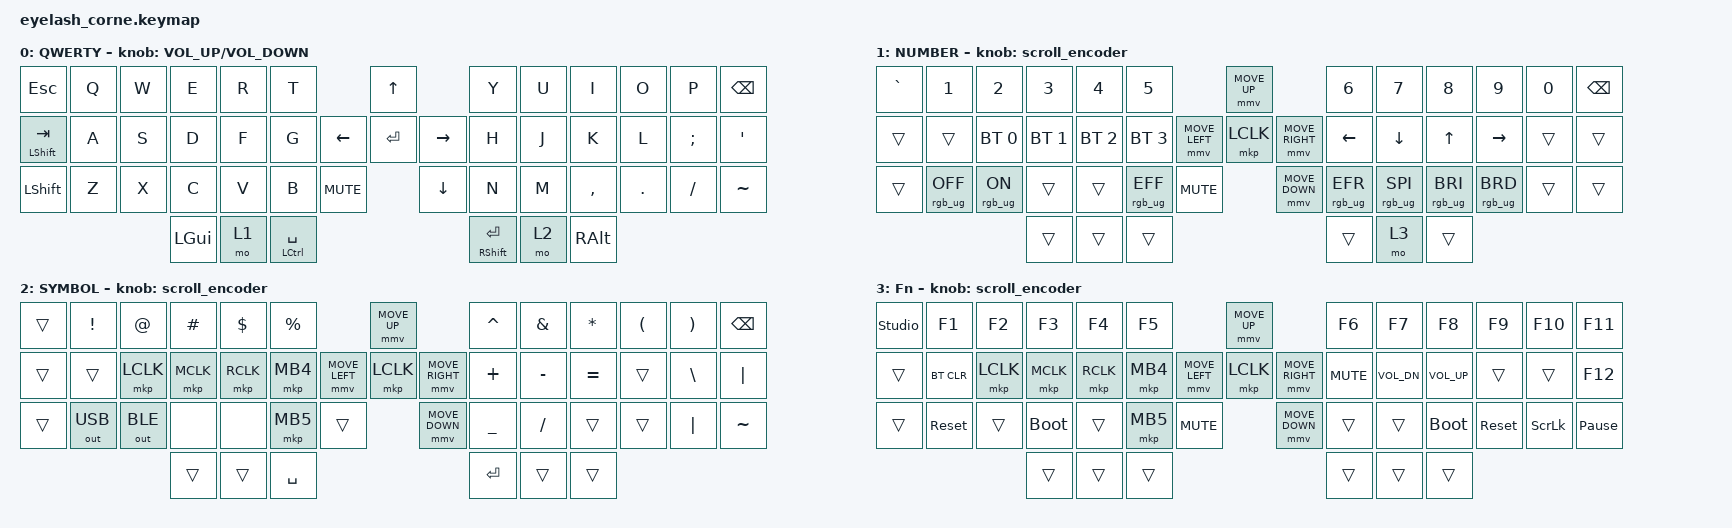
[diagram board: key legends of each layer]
#define ZMK_POINTING_DEFAULT_MOVE_VAL 1200  // 600
#define ZMK_POINTING_DEFAULT_SCRL_VAL 25   // 10

#include <input/processors.dtsi>
#include <zephyr/dt-bindings/input/input-event-codes.h>
#include <behaviors.dtsi>
#include <dt-bindings/zmk/bt.h>
#include <dt-bindings/zmk/keys.h>
#include <dt-bindings/zmk/outputs.h>
#include <dt-bindings/zmk/pointing.h>
#include <dt-bindings/zmk/rgb.h>

&mmv_input_listener { input-processors = <&zip_xy_scaler 2 1>; };

&msc_input_listener { input-processors = <&zip_scroll_scaler 2 1>; };

&msc {
    acceleration-exponent = <1>;      // 0
    time-to-max-speed-ms = <100>;       // 300
    delay-ms = <0>;                   // 0
};

&mmv {
    time-to-max-speed-ms = <500>;
    acceleration-exponent = <1>;
    trigger-period-ms = <16>;
};

/ {
    behaviors {
        td0: td0 {
            compatible = "zmk,behavior-tap-dance";
            display-name = "Shift/Caps Lock Tap Dance";
            #binding-cells = <0>;
            bindings = <&kp LEFT_SHIFT>, <&kp CAPS>;
        };
    };

    rgb_encoder: rgb_encoder {
        compatible = "zmk,behavior-sensor-rotate";
        #sensor-binding-cells = <0>;
        bindings = <&rgb_ug RGB_BRI>, <&rgb_ug RGB_BRD>;
    };

    scroll_encoder: scroll_encoder {
        compatible = "zmk,behavior-sensor-rotate";
        #sensor-binding-cells = <0>;
        bindings = <&msc SCRL_DOWN>, <&msc SCRL_UP>;

        tap-ms = <100>;
    };

    combos {
        compatible = "zmk,combos";

        left_sqt_bracket {
            bindings = <&kp LEFT_BRACKET>;
            key-positions = <3 4>;
        };

        right_sqt_bracket {
            bindings = <&kp RIGHT_BRACKET>;
            key-positions = <4 5>;
        };

        left_p {
            bindings = <&kp LEFT_PARENTHESIS>;
            key-positions = <7 8>;
        };

        right_parenthesis {
            bindings = <&kp RIGHT_PARENTHESIS>;
            key-positions = <8 9>;
        };

        left_bracket {
            bindings = <&kp LEFT_BRACE>;
            key-positions = <22 23>;
        };

        right_bracket {
            bindings = <&kp RIGHT_BRACE>;
            key-positions = <23 24>;
        };

        l_ctrl {
            bindings = <&kp RCTRL>;
            key-positions = <17 18>;
        };
    };

    keymap {
        compatible = "zmk,keymap";

        default_layer {
            display-name = "QWERTY";
            bindings = <
&kp ESCAPE          &kp Q  &kp W  &kp E     &kp R  &kp T                                    &kp UP                &kp Y                  &kp U  &kp I      &kp O    &kp P     &kp BSPC
&mt LEFT_SHIFT TAB  &kp A  &kp S  &kp D     &kp F  &kp G                          &kp LEFT  &kp ENTER  &kp RIGHT  &kp H                  &kp J  &kp K      &kp L    &kp SEMI  &kp SQT
&kp LEFT_SHIFT      &kp Z  &kp X  &kp C     &kp V  &kp B            &kp C_MUTE              &kp DOWN              &kp N                  &kp M  &kp COMMA  &kp DOT  &kp FSLH  &kp TILDE
                                  &kp LGUI  &mo 1  &mt LCTRL SPACE                                                &mt RIGHT_SHIFT ENTER  &mo 2  &kp RALT
            >;

            sensor-bindings = <&inc_dec_kp C_VOLUME_UP C_VOLUME_DOWN>;
        };

        lower_layer {
            display-name = "NUMBER";
            bindings = <
&kp GRAVE  &kp N1           &kp N2          &kp N3        &kp N4        &kp N5                                         &mmv MOVE_UP                     &kp N6           &kp N7           &kp N8           &kp N9           &kp N0  &kp BSPC
&trans     &trans           &bt BT_SEL 0    &bt BT_SEL 1  &bt BT_SEL 2  &bt BT_SEL 3                   &mmv MOVE_LEFT  &mkp LCLK       &mmv MOVE_RIGHT  &kp LEFT         &kp DOWN         &kp UP           &kp RIGHT        &trans  &trans
&trans     &rgb_ug RGB_OFF  &rgb_ug RGB_ON  &trans        &trans        &rgb_ug RGB_EFF  &kp C_MUTE                    &mmv MOVE_DOWN                   &rgb_ug RGB_EFR  &rgb_ug RGB_SPI  &rgb_ug RGB_BRI  &rgb_ug RGB_BRD  &trans  &trans
                                            &trans        &trans        &trans                                                                          &trans           &mo 3            &trans
            >;

            sensor-bindings = <&scroll_encoder>;
        };

        raise_layer {
            display-name = "SYMBOL";
            bindings = <
&trans  &kp EXCL      &kp AT        &kp HASH   &kp DLLR   &kp PRCNT                            &mmv MOVE_UP                     &kp CARET  &kp AMPS   &kp ASTRK  &kp LPAR  &kp RPAR  &kp BSPC
&trans  &trans        &mkp LCLK     &mkp MCLK  &mkp RCLK  &mkp MB4             &mmv MOVE_LEFT  &mkp LCLK       &mmv MOVE_RIGHT  &kp PLUS   &kp MINUS  &kp EQUAL  &trans    &kp BSLH  &kp PIPE
&trans  &out OUT_USB  &out OUT_BLE  &none      &none      &mkp MB5   &trans                    &mmv MOVE_DOWN                   &kp UNDER  &kp SLASH  &trans     &trans    &kp PIPE  &kp TILDE
                                    &trans     &trans     &kp SPACE                                                             &kp RET    &trans     &trans
            >;

            sensor-bindings = <&scroll_encoder>;
        };

        layer_3 {
            display-name = "Fn";
            bindings = <
&studio_unlock  &kp F1      &kp F2     &kp F3       &kp F4     &kp F5                                  &mmv MOVE_UP                     &kp F6      &kp F7        &kp F8        &kp F9      &kp F10         &kp F11
&trans          &bt BT_CLR  &mkp LCLK  &mkp MCLK    &mkp RCLK  &mkp MB4                &mmv MOVE_LEFT  &mkp LCLK       &mmv MOVE_RIGHT  &kp K_MUTE  &kp C_VOL_DN  &kp C_VOL_UP  &trans      &trans          &kp F12
&trans          &sys_reset  &trans     &bootloader  &trans     &mkp MB5  &kp C_MUTE                    &mmv MOVE_DOWN                   &trans      &trans        &bootloader   &sys_reset  &kp SCROLLLOCK  &kp PAUSE_BREAK
                                       &trans       &trans     &trans                                                                   &trans      &trans        &trans
            >;

            sensor-bindings = <&scroll_encoder>;
        };
    };
};
